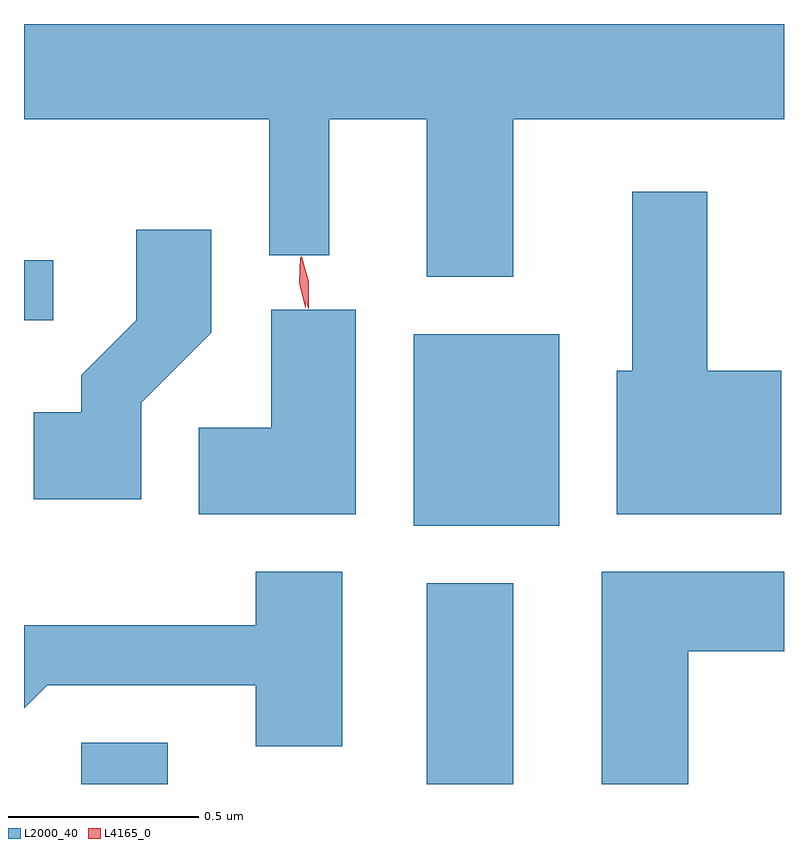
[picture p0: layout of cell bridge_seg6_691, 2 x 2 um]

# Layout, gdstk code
import gdstk
lib = gdstk.Library(unit=1e-6, precision=1e-09)
def R(c, l, rs):  # rectangles x0, y0, x1, y1
    for r in rs: c.add(gdstk.rectangle(r[:2], r[2:], *l))
def P(c, l, *ps):  # polygons
    for p in ps: c.add(gdstk.Polygon(p, *l))
L2000_40 = (2000, 40)
L4165_0 = (4165, 0)

bridge_seg6_691 = lib.new_cell('bridge_seg6_691')
R(bridge_seg6_691, L2000_40, [(212.931,1625.986,213.159,1626.094), (213.841,1625.986,214.069,1626.514), (213.806,1626.666,214.189,1627.169), (212.781,1627.206,212.858,1627.364)])
P(bridge_seg6_691, L2000_40, [(214.069,1627.736),(214.781,1627.736),(214.781,1627.986),(212.781,1627.986),(212.781,1627.736),(213.426,1627.736),(213.426,1627.378),(213.584,1627.378),(213.584,1627.736),(213.841,1627.736),(213.841,1627.321),(214.069,1627.321)],
  [(214.774,1627.074),(214.579,1627.074),(214.579,1627.544),(214.381,1627.544),(214.381,1627.074),(214.341,1627.074),(214.341,1626.696),(214.774,1626.696)],
  [(213.089,1626.989),(213.274,1627.174),(213.274,1627.444),(213.076,1627.444),(213.076,1627.207),(212.931,1627.062),(212.931,1626.964),(212.806,1626.964),(212.806,1626.736),(213.089,1626.736)],
  [(213.654,1627.234),(213.431,1627.234),(213.431,1626.924),(213.241,1626.924),(213.241,1626.696),(213.654,1626.696)],
  [(213.619,1626.544),(213.391,1626.544),(213.391,1626.404),(212.781,1626.404),(212.781,1626.185),(212.842,1626.246),(213.391,1626.246),(213.391,1626.086),(213.619,1626.086)],
  [(214.529,1626.336),(214.781,1626.336),(214.781,1626.544),(214.301,1626.544),(214.301,1625.986),(214.529,1625.986)])
P(bridge_seg6_691, L4165_0, [(213.521,1627.239),(213.521,1627.24),(213.505,1627.304),(213.508,1627.371),(213.508,1627.371),(213.509,1627.371),(213.525,1627.306),(213.522,1627.24)],
  [(213.529,1627.237),(213.529,1627.238),(213.51,1627.305),(213.51,1627.374),(213.511,1627.375),(213.512,1627.374),(213.53,1627.308),(213.53,1627.238)])

lib.write_gds('bridge_seg6_691.gds')
